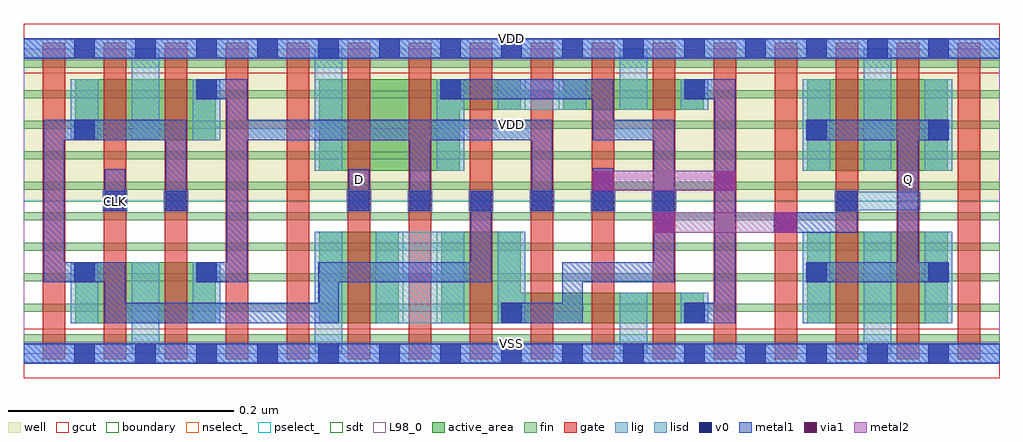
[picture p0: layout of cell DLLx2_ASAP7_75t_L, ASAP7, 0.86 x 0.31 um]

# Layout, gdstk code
import gdstk
lib = gdstk.Library(unit=1e-6, precision=2.5e-10)
def R(c, l, rs):  # rectangles x0, y0, x1, y1
    for r in rs: c.add(gdstk.rectangle(r[:2], r[2:], *l))
def A(c, l, x, y, w, h, nx, ny, dx, dy):  # array of equal rectangles
    R(c, l, [(x+i*dx, y+j*dy, x+i*dx+w, y+j*dy+h) for i in range(nx) for j in range(ny)])
def P(c, l, *ps):  # polygons
    for p in ps: c.add(gdstk.Polygon(p, *l))
well = (1, 0)
fin = (2, 0)
gate = (7, 0)
gcut = (10, 0)
active_area = (11, 0)
nselect_ = (12, 0)
pselect_ = (13, 0)
lig = (16, 0)
lisd = (17, 0)
v0 = (18, 0)
metal1 = (19, 0)
metal2 = (20, 0)
via1 = (21, 0)
sdt = (88, 0)
L98_0 = (98, 0)
boundary = (100, 0)

dllx2_asap7_75t_l = lib.new_cell('DLLx2_ASAP7_75t_L')
R(dllx2_asap7_75t_l, well, [(0,0.135,0.864,0.27)])
A(dllx2_asap7_75t_l, fin, 0, 0.01, 0.864, 0.007, 1, 10, 0, 0.027)
A(dllx2_asap7_75t_l, gate, 0.017, -0.005, 0.02, 0.28, 16, 1, 0.054, 0)
R(dllx2_asap7_75t_l, gcut, [(0,-0.022,0.864,0.022), (0,0.248,0.864,0.292)])
R(dllx2_asap7_75t_l, active_area, [(0.046,0.027,0.17,0.081), (0.262,0.027,0.332,0.108), (0.694,0.027,0.818,0.108), (0.694,0.162,0.818,0.243), (0.046,0.189,0.17,0.243), (0.478,0.216,0.602,0.243)])
P(dllx2_asap7_75t_l, active_area, [(0.37,0.027),(0.37,0.108),(0.44,0.108),(0.44,0.054),(0.602,0.054),(0.602,0.027)],
  [(0.262,0.162),(0.262,0.243),(0.44,0.243),(0.44,0.216),(0.386,0.216),(0.386,0.162)])
R(dllx2_asap7_75t_l, nselect_, [(0,0,0.864,0.135)])
R(dllx2_asap7_75t_l, pselect_, [(0,0.135,0.864,0.27)])
A(dllx2_asap7_75t_l, lig, 0.286, 0.126, 0.022, 0.018, 6, 1, 0.054, 0)
R(dllx2_asap7_75t_l, lig, [(0,-0.008,0.864,0.008), (0.07,0.126,0.092,0.144), (0.124,0.126,0.146,0.144), (0.718,0.126,0.74,0.144), (0.718,0.127,0.794,0.143), (0,0.262,0.864,0.278)])
R(dllx2_asap7_75t_l, lisd, [(0.096,0,0.12,0.081), (0.096,0,0.12,0.081), (0.258,0,0.282,0.108), (0.258,0,0.282,0.108), (0.528,0,0.552,0.054), (0.744,0,0.768,0.108), (0.744,0,0.768,0.108), (0.042,0.027,0.066,0.081), (0.15,0.027,0.174,0.081), (0.312,0.027,0.39,0.108), (0.42,0.027,0.444,0.108), (0.582,0.027,0.606,0.054), (0.69,0.027,0.714,0.108), (0.798,0.027,0.822,0.108), (0.258,0.162,0.282,0.27), (0.258,0.162,0.282,0.27), (0.366,0.162,0.39,0.243), (0.69,0.162,0.714,0.243), (0.744,0.162,0.768,0.27), (0.744,0.162,0.768,0.27), (0.798,0.162,0.822,0.243), (0.042,0.189,0.066,0.243), (0.096,0.189,0.12,0.27), (0.096,0.189,0.12,0.27), (0.15,0.189,0.174,0.243), (0.42,0.216,0.498,0.243), (0.528,0.216,0.552,0.27), (0.582,0.216,0.606,0.243)])
A(dllx2_asap7_75t_l, v0, 0.045, -0.009, 0.018, 0.018, 15, 2, 0.054, 0.27)
A(dllx2_asap7_75t_l, v0, 0.288, 0.126, 0.018, 0.018, 6, 1, 0.054, 0)
A(dllx2_asap7_75t_l, v0, 0.153, 0.225, 0.018, 0.018, 3, 1, 0.216, 0)
R(dllx2_asap7_75t_l, v0, [(0.423,0.027,0.441,0.045), (0.585,0.027,0.603,0.045), (0.045,0.063,0.063,0.081), (0.153,0.063,0.171,0.081), (0.693,0.063,0.711,0.081), (0.801,0.063,0.819,0.081), (0.072,0.126,0.09,0.144), (0.126,0.126,0.144,0.144), (0.72,0.126,0.738,0.144), (0.045,0.189,0.063,0.207), (0.693,0.189,0.711,0.207), (0.801,0.189,0.819,0.207)])
A(dllx2_asap7_75t_l, metal1, 0.072, 0.126, 0.018, 0.037, 3, 1, 0.216, 0)
A(dllx2_asap7_75t_l, metal1, 0.288, 0.126, 0.018, 0.018, 6, 1, 0.054, 0)
A(dllx2_asap7_75t_l, metal1, 0.153, 0.225, 0.018, 0.018, 3, 1, 0.216, 0)
R(dllx2_asap7_75t_l, metal1, [(0,-0.009,0.864,0.009), (0.423,0.027,0.441,0.045), (0.585,0.027,0.603,0.045), (0.045,0.063,0.063,0.081), (0.153,0.063,0.171,0.081), (0.693,0.063,0.711,0.081), (0.801,0.063,0.819,0.081), (0.558,0.107,0.576,0.125), (0.664,0.107,0.686,0.125), (0.072,0.126,0.09,0.144), (0.126,0.126,0.144,0.144), (0.72,0.126,0.738,0.144), (0.504,0.144,0.522,0.164), (0.612,0.144,0.63,0.162), (0.045,0.189,0.063,0.207), (0.693,0.189,0.711,0.207), (0.801,0.189,0.819,0.207), (0,0.261,0.864,0.279)])
P(dllx2_asap7_75t_l, metal1, [(0.072,0.027),(0.072,0.063),(0.018,0.063),(0.018,0.207),(0.144,0.207),(0.144,0.126),(0.126,0.126),(0.126,0.189),(0.036,0.189),(0.036,0.081),(0.09,0.081),(0.09,0.045),(0.261,0.045),(0.261,0.081),(0.396,0.081),(0.396,0.144),(0.414,0.144),(0.414,0.063),(0.279,0.063),(0.279,0.027)],
  [(0.153,0.063),(0.153,0.081),(0.18,0.081),(0.18,0.225),(0.153,0.225),(0.153,0.243),(0.198,0.243),(0.198,0.207),(0.468,0.207),(0.468,0.126),(0.45,0.126),(0.45,0.189),(0.36,0.189),(0.36,0.126),(0.342,0.126),(0.342,0.189),(0.198,0.189),(0.198,0.063)],
  [(0.423,0.027),(0.423,0.045),(0.477,0.045),(0.477,0.081),(0.558,0.081),(0.558,0.189),(0.504,0.189),(0.504,0.225),(0.369,0.225),(0.369,0.243),(0.522,0.243),(0.522,0.207),(0.576,0.207),(0.576,0.063),(0.495,0.063),(0.495,0.027)],
  [(0.666,0.107),(0.666,0.125),(0.72,0.125),(0.72,0.144),(0.738,0.144),(0.738,0.107)],
  [(0.585,0.027),(0.585,0.045),(0.612,0.045),(0.612,0.225),(0.585,0.225),(0.585,0.243),(0.63,0.243),(0.63,0.027)],
  [(0.693,0.063),(0.693,0.081),(0.774,0.081),(0.774,0.189),(0.693,0.189),(0.693,0.207),(0.819,0.207),(0.819,0.189),(0.792,0.189),(0.792,0.081),(0.819,0.081),(0.819,0.063)])
R(dllx2_asap7_75t_l, metal2, [(0.558,0.107,0.684,0.125), (0.504,0.144,0.63,0.162)])
R(dllx2_asap7_75t_l, via1, [(0.558,0.107,0.576,0.125), (0.666,0.107,0.684,0.125), (0.504,0.144,0.522,0.162), (0.612,0.144,0.63,0.162)])
A(dllx2_asap7_75t_l, sdt, 0.258, 0.027, 0.024, 0.081, 4, 1, 0.054, 0)
A(dllx2_asap7_75t_l, sdt, 0.42, 0.216, 0.024, 0.027, 4, 1, 0.054, 0)
R(dllx2_asap7_75t_l, sdt, [(0.042,0.027,0.066,0.081), (0.096,0.027,0.12,0.081), (0.096,0.027,0.12,0.081), (0.15,0.027,0.174,0.081), (0.258,0.027,0.282,0.108), (0.528,0.027,0.552,0.054), (0.582,0.027,0.606,0.054), (0.69,0.027,0.714,0.108), (0.744,0.027,0.768,0.108), (0.744,0.027,0.768,0.108), (0.798,0.027,0.822,0.108), (0.258,0.162,0.282,0.243), (0.258,0.162,0.282,0.243), (0.366,0.162,0.39,0.243), (0.69,0.162,0.714,0.243), (0.744,0.162,0.768,0.243), (0.744,0.162,0.768,0.243), (0.798,0.162,0.822,0.243), (0.042,0.189,0.066,0.243), (0.096,0.189,0.12,0.243), (0.096,0.189,0.12,0.243), (0.15,0.189,0.174,0.243)])
R(dllx2_asap7_75t_l, L98_0, [(0,0,0.864,0.27)])
R(dllx2_asap7_75t_l, boundary, [(0,0,0.864,0.27)])
dllx2_asap7_75t_l.add(gdstk.Label('VDD', (0.432,0.2025), layer=1, texttype=251))
dllx2_asap7_75t_l.add(gdstk.Label('VSS', (0.432,-0.0675), layer=3, texttype=251))
dllx2_asap7_75t_l.add(gdstk.Label('VSS', (0.432,0.009), layer=19, texttype=251))
dllx2_asap7_75t_l.add(gdstk.Label('VDD', (0.432,0.279), layer=19, texttype=251))
dllx2_asap7_75t_l.add(gdstk.Label('CLK', (0.081,0.135), layer=19, texttype=251))
dllx2_asap7_75t_l.add(gdstk.Label('D', (0.297,0.154), layer=19, texttype=251))
dllx2_asap7_75t_l.add(gdstk.Label('Q', (0.783,0.154), layer=19, texttype=251))

lib.write_gds('DLLx2_ASAP7_75t_L.gds')
